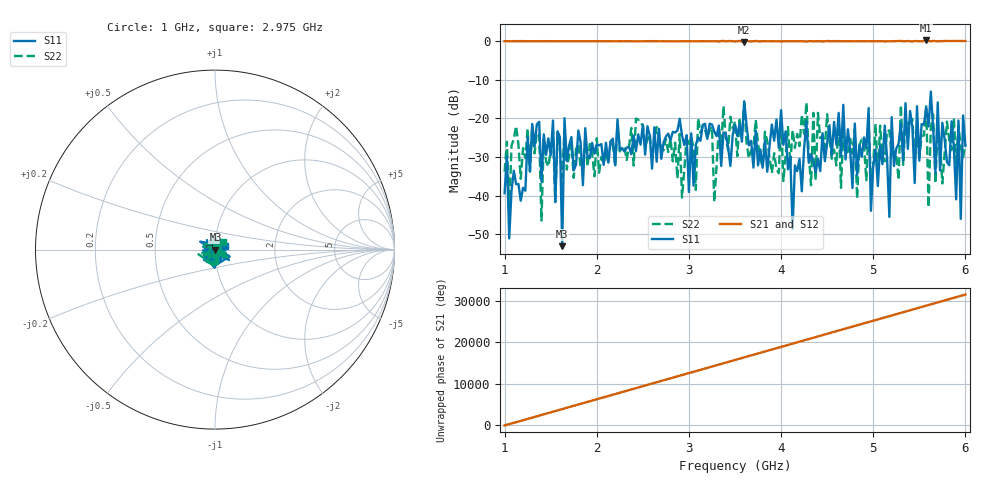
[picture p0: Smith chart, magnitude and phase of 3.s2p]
!Keysight Technologies,E5080A,MY55100170,A.11.70.00
!Date: Tuesday, August 20, 2019 22:42:16
!Correction: S11(Full 2 Port(1,2))
!S21(Full 2 Port(1,2))
!S12(Full 2 Port(1,2))
!S22(Full 2 Port(1,2))
!S2P File: Measurements: S11, S21, S12, S22:
# Hz S  dB  R 50
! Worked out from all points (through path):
!   201 points, 1 GHz to 6 GHz, reference 50 ohm
!   highest |S21| = 0.12 dB at 5.575 GHz (marker M1); lowest = -0.2 dB at 3.6 GHz (marker M2)
!   lowest |S11| = -53.0 dB at 1.625 GHz (marker M3), VSWR 1.00, Z = 50.2 - j0.0487 ohm
!   |S11| at or under -10 dB: start of sweep to end of sweep
!   |S22| runs from -46.4 to -15.9 dB; largest |S21 - S12| = 0.011
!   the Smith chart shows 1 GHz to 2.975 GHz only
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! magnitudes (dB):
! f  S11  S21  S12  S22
! 1 GHz  -39.3  -0.1  0.0  -33.8
! 1.375 GHz  -20.9  -0.1  -0.1  -24.0
! 1.4 GHz  -36.3  -0.1  -0.1  -46.4
! 1.525 GHz  -20.6  -0.1  -0.1  -23.6
! 1.625 GHz  -53.0  -0.1  -0.1  -35.3
! 1.65 GHz  -20.0  -0.1  -0.1  -22.9
! 1.85 GHz  -37.3  -0.1  -0.1  -33.2
! 2.675 GHz  -22.7  -0.1  -0.1  -24.9
! 3.5 GHz  -21.7  -0.1  -0.1  -20.8
! 3.6 GHz  -15.6  -0.2  -0.2  -15.9
! 4 GHz  -17.9  -0.1  -0.1  -20.0
! 4.125 GHz  -48.5  -0.1  -0.1  -23.0
! 4.35 GHz  -31.1  -0.1  -0.1  -18.6
! 4.95 GHz  -17.4  -0.1  -0.1  -21.5
! 4.975 GHz  -43.9  -0.1  -0.1  -36.3
! 5.125 GHz  -21.9  -0.1  -0.1  -31.1
! 5.175 GHz  -45.5  -0.1  0.0  -23.2
! 5.2 GHz  -19.7  -0.1  -0.1  -29.6
! 5.575 GHz  -17.2  0.1  0.1  -16.6
! 5.6 GHz  -22.1  0.0  -0.1  -43.0
! 5.65 GHz  -22.5  0.0  0.0  -19.1
! 6 GHz  -27.1  0.0  0.0  -26.7
